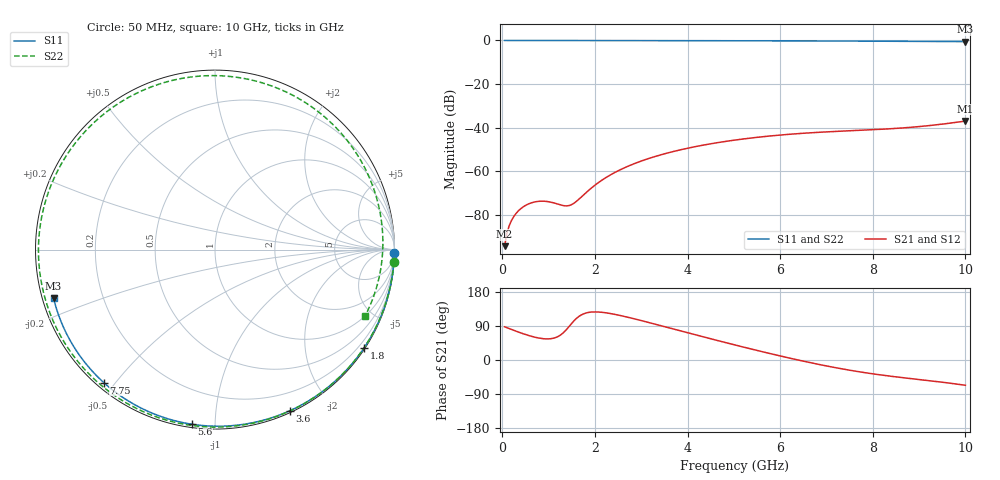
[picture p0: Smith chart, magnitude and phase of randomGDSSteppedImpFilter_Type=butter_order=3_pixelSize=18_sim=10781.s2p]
! freq	dB(S11)	phase(S11)	dB(S12)	phase(S12)
!  dB(S21)	phase(S21)	dB(S22)	phase(S22)
!S-par simulation data
#  GHz  S  DB  R 50
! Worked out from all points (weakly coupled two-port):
!   200 points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, 50 MHz to 10 GHz, reference 50 ohm
!   highest |S21| = -37.04 dB at 10 GHz (marker M1); lowest = -94.5 dB at 50 MHz (marker M2)
!   lowest |S11| = -0.5 dB at 10 GHz (marker M3), VSWR 31.98, Z = 1.6 - j7.33 ohm
!   |S11| at or under -10 dB: nowhere
!   |S22| runs from -0.8 to 0.0 dB; largest |S21 - S12| = 0
!   S11 on the Smith chart (normalised r, x): 50 MHz: open; 1.8 GHz: 0.03, -3.32; 3.6 GHz: 0.02, -1.56; 5.6 GHz: 0.02, -0.88; 7.75 GHz: 0.02, -0.47; 10 GHz: 0.03, -0.15
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0.05  -0.00 -0.9  -94.51 87.6  -94.51 87.6  -0.00 -4.0
0.25  -0.01 -4.8  -80.84 78.2  -80.84 78.2  -0.03 -19.5
0.4  -0.01 -7.6  -77.27 71.4  -77.27 71.4  -0.04 -30.9
0.6  -0.02 -11.3  -74.82 63.5  -74.82 63.5  -0.06 -45.6
0.85  -0.02 -16.0  -73.84 56.7  -73.84 56.7  -0.08 -62.9
1.1  -0.03 -20.7  -74.56 57.3  -74.56 57.3  -0.09 -78.9
1.4  -0.03 -26.2  -76.00 82.3  -76.00 82.3  -0.10 -96.2
1.55  -0.04 -29.0  -74.75 103.7  -74.75 103.7  -0.10 -104.2
1.75  -0.04 -32.6  -71.08 121.5  -71.08 121.5  -0.11 -114.1
1.8  -0.04 -33.5  -70.10 123.7  -70.10 123.7  -0.11 -116.5
2.15  -0.05 -39.9  -64.20 125.9  -64.20 125.9  -0.12 -132.0
2.55  -0.06 -47.0  -59.37 117.3  -59.37 117.3  -0.12 -147.8
3.4  -0.08 -61.8  -52.68 91.4  -52.68 91.4  -0.14 -176.7
3.6  -0.09 -65.2  -51.52 84.9  -51.52 84.9  -0.15 177.1
4.3  -0.11 -76.9  -48.24 62.4  -48.24 62.4  -0.17 156.5
5.05  -0.14 -89.0  -45.69 38.9  -45.69 38.9  -0.19 135.3
5.6  -0.16 -97.6  -44.28 22.3  -44.28 22.3  -0.22 119.8
6.7  -0.22 -114.4  -42.36 -8.2  -42.36 -8.2  -0.28 87.8
7.75  -0.30 -129.9  -41.26 -31.9  -41.26 -31.9  -0.35 55.0
8.35  -0.36 -138.7  -40.61 -42.3  -40.61 -42.3  -0.41 35.1
9.2  -0.45 -151.3  -39.15 -54.3  -39.15 -54.3  -0.55 5.6
10  -0.54 -163.3  -37.04 -66.7  -37.04 -66.7  -0.78 -23.7
